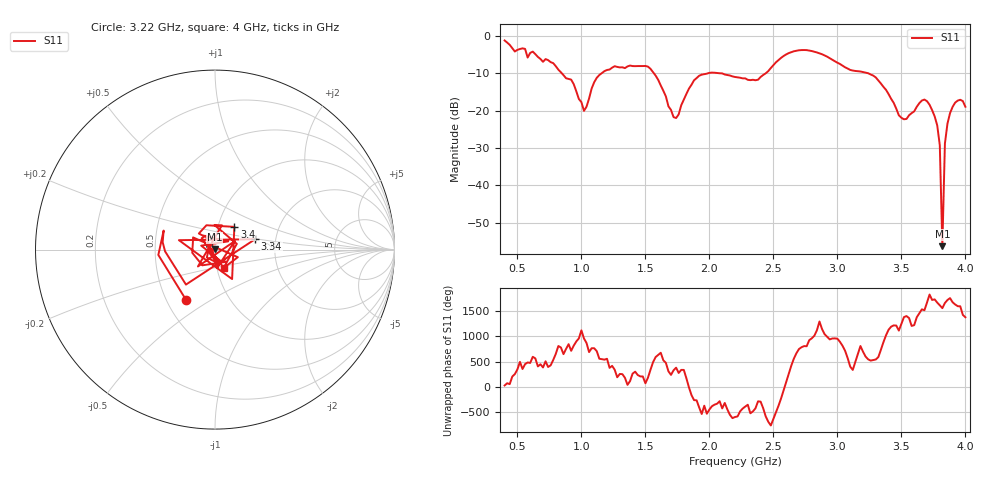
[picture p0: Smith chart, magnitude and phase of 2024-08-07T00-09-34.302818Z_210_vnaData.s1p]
!Created with skrf (http://scikit-rf.org).
# Hz S RI R 50.0
!freq ReS11 ImS11
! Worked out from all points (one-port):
!   181 points, 400 MHz to 4 GHz, reference 50 ohm
!   lowest |S11| = -56.3 dB at 3.82 GHz (marker M1), VSWR 1.00, Z = 49.9 + j0.138 ohm
!   |S11| at or under -10 dB: 1.566 GHz to 1.989 GHz (422.5 MHz wide, 23.8 % of centre); 2.087 GHz to 2.44 GHz (352.8 MHz wide, 15.6 % of centre); 3.241 GHz to end of sweep (the widest 3 of 4)
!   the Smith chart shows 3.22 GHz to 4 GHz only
!   S11 on the Smith chart (normalised r, x): 3.22 GHz: 0.63, -0.39; 3.34 GHz: 1.56, +0.19; 3.4 GHz: 1.20, +0.31; 4 GHz: 1.08, -0.22
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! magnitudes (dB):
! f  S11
! 400 MHz  -1.2
! 860 MHz  -10.5
! 920 MHz  -11.7
! 1.02 GHz  -20.1
! 1.12 GHz  -11.2
! 1.3 GHz  -8.4
! 1.52 GHz  -8.2
! 1.6 GHz  -11.8
! 1.72 GHz  -21.7
! 1.76 GHz  -21.0
! 1.92 GHz  -10.7
! 2.2 GHz  -11.0
! 2.38 GHz  -11.7
! 2.66 GHz  -4.1
! 3.1 GHz  -9.1
! 3.22 GHz  -9.8
! 3.34 GHz  -12.7
! 3.4 GHz  -15.6
! 3.48 GHz  -21.2
! 3.56 GHz  -21.2
! 3.68 GHz  -17.0
! 3.78 GHz  -24.0
! 3.8 GHz  -29.3
! 3.82 GHz  -56.3
! 3.84 GHz  -28.8
! 3.86 GHz  -23.5
! 3.92 GHz  -17.9
! 4 GHz  -19.0
